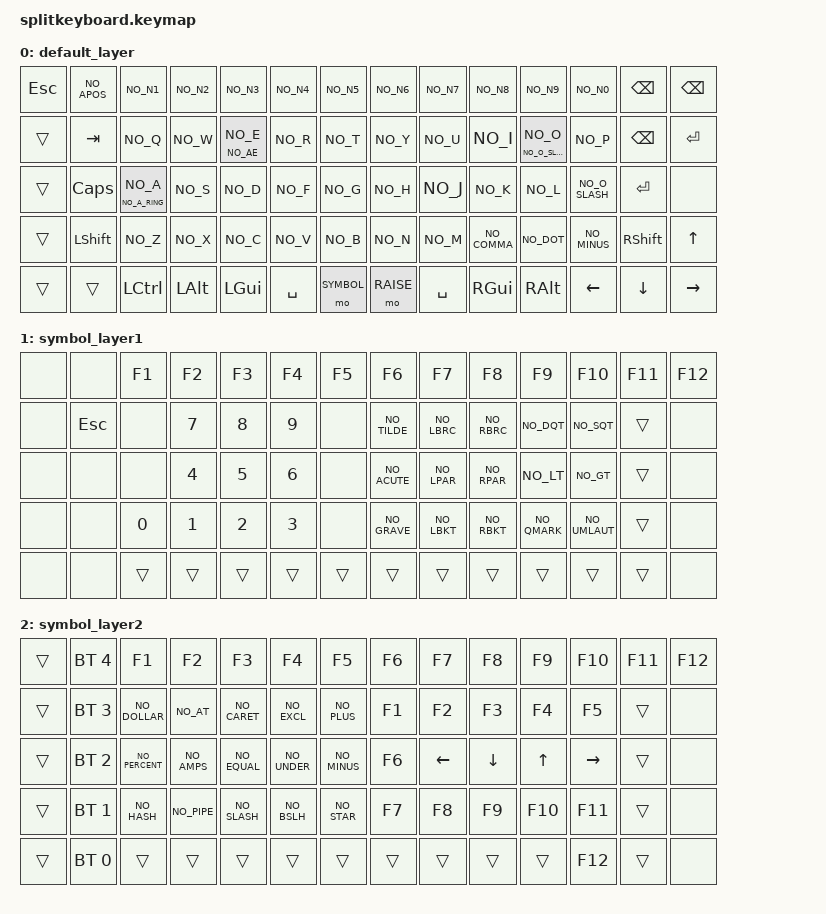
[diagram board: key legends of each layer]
/*
 * Copyright (c) 2020 The ZMK Contributors
 *
 * SPDX-License-Identifier: MIT
 */


#include <behaviors.dtsi>
#include <dt-bindings/zmk/keys.h>
#include <dt-bindings/zmk/bt.h>
#include "keys_se.h"
#include "keys_sv.h"
#include "keys_no_mac.h"


#define DEFAULT 0
#define SYMBOL  1
#define RAISE   2

/ {
    keymap {
        compatible = "zmk,keymap";
// ---------------------------------------------------------------------------------
// | ESC |   `  |  1  |  2  |  3  |  4  |  5  |     |  6  |  7  |  8  |  9  |  0  | none | BKSP |
// | x   |  TAB |  Q  |  W  |  E  |  R  |  T  |     |  Y  |  U  |  I  |  O  |  P  |bspc  | ENT  |
// | x   | CAPS |  A  |  S  |  D  |  F  |  G  |     |  H  |  J  |  K  |  L  |  Ø  | enter| None |
// | x   | SHFT |  Z  |  X  |  C  |  V  |  B  |     |  N  |  M  |  ,  |  .  |  -  |SHIFT | UP   |
// | x   | x    | CTR | OPT | CMD | SPC | LOW |     | LOW | SPC | CMD | OPT |LEFT | DOWN | RIGHT|


        default_layer {
            bindings = <
&kp ESC              &kp NO_APOS  &kp NO_N1                 &kp NO_N2    &kp NO_N3          &kp NO_N4         &kp NO_N5         &kp NO_N6       &kp NO_N7         &kp NO_N8     &kp NO_N9                &kp NO_N0       &kp BSPC       &kp BSPC
&trans               &kp TAB      &kp NO_Q                  &kp NO_W     &mtt NO_AE NO_E    &kp NO_R          &kp NO_T          &kp NO_Y        &kp NO_U          &kp NO_I      &mtt NO_O_SLASH NO_O     &kp NO_P        &kp BSPC       &kp ENTER
&trans               &kp CAPS     &mtt NO_A_RING NO_A       &kp NO_S     &kp NO_D           &kp NO_F          &kp NO_G          &kp NO_H        &kp NO_J          &kp NO_K      &kp NO_L                 &kp NO_O_SLASH  &kp ENTER      &none
&trans               &kp LSHFT    &kp NO_Z                  &kp NO_X     &kp NO_C           &kp NO_V          &kp NO_B          &kp NO_N        &kp NO_M          &kp NO_COMMA  &kp NO_DOT               &kp NO_MINUS    &kp RSHFT      &kp UP
&trans               &trans       &kp LCTRL                 &kp LALT     &kp LGUI           &kp SPACE         &mo SYMBOL        &mo RAISE       &kp SPACE         &kp RGUI      &kp RALT                 &kp LEFT        &kp DOWN       &kp RIGHT
            >;
        };
// ---------------------------------------------------------------------------------------------------
// |     |      |     |     |     |     |     |        |       |     |     |     |     |      |      |
// |     | esc  |     |  7  |  8  |  9  |     |        |   ~   |  {  |  }  |  "  |  '  |      |      |
// |     |      |     |  4  |  5  |  6  |     |        |   ´   |  (  |  )  |  <  |  >  |      |      |
// |     |      |  0  |  1  |  2  |  3  |     |        |   `   |  [  |  ]  |  ?  |  ¨  |      |      |
// |     |      |     |     |     |     |     |        |       |     |     |     |     |      |      |

        symbol_layer1 {
            bindings = <
&none        &none        &kp F1     &kp F2     &kp F3     &kp F4     &kp F5            &kp F6        &kp F7        &kp F8        &kp F9        &kp F10       &kp F11       &kp F12
&none        &kp ESC      &none      &kp N7     &kp N8     &kp N9     &none             &kp NO_TILDE  &kp NO_LBRC   &kp NO_RBRC   &kp NO_DQT    &kp NO_SQT    &trans        &none
&none        &none        &none      &kp N4     &kp N5     &kp N6     &none             &kp NO_ACUTE  &kp NO_LPAR   &kp NO_RPAR   &kp NO_LT     &kp NO_GT     &trans        &none
&none        &none        &kp N0     &kp N1     &kp N2     &kp N3     &none             &kp NO_GRAVE  &kp NO_LBKT   &kp NO_RBKT   &kp NO_QMARK  &kp NO_UMLAUT &trans        &none
&none        &none        &trans     &trans     &trans     &trans     &trans            &trans        &trans        &trans        &trans        &trans        &trans        &none 
            >; 
        };

// ---------------------------------------------------------------------------------
// |   | bt4 |  f1 |  f2 |  f3 | f4  |  f5 |        |   F6  |  f7 |  f8 |  f9 |  f10| f11  | f12  |
// |   | bt3 |  $  |  @  |  ^  |  !  |  +  |        |       |     |     |     |     |      |      |
// |   | bt2 |  %  |  &  |  =  |  _  |  -  |        |       |LEFT |DOWN | UP  |RIGHT|      |      |
// |   | bt1 |  #  |  |  |  /  |  \  |  *  |        |       |     |     |     |     |      |      |
// |   | bt0 |     |     |     |     |     |        |       |     |     |     |     |      |      |


        symbol_layer2 {
            bindings = <
&trans  &bt BT_SEL 4     &kp F1         &kp F2         &kp F3        &kp F4        &kp F5                &kp F6        &kp F7        &kp F8        &kp F9        &kp F10       &kp F11       &kp F12
&trans  &bt BT_SEL 3     &kp NO_DOLLAR  &kp NO_AT      &kp NO_CARET  &kp NO_EXCL   &kp NO_PLUS           &kp F1        &kp F2        &kp F3        &kp F4        &kp F5        &trans        &none
&trans  &bt BT_SEL 2     &kp NO_PERCENT &kp NO_AMPS    &kp NO_EQUAL  &kp NO_UNDER  &kp NO_MINUS          &kp F6        &kp LEFT      &kp DOWN      &kp UP        &kp RIGHT     &trans        &none
&trans  &bt BT_SEL 1     &kp NO_HASH    &kp NO_PIPE    &kp NO_SLASH  &kp NO_BSLH   &kp NO_STAR           &kp F7        &kp F8        &kp F9        &kp F10       &kp F11       &trans        &none
&trans  &bt BT_SEL 0     &trans         &trans         &trans        &trans        &trans                &trans        &trans        &trans        &trans        &kp F12       &trans        &none 
            >;
        };
    };
};
